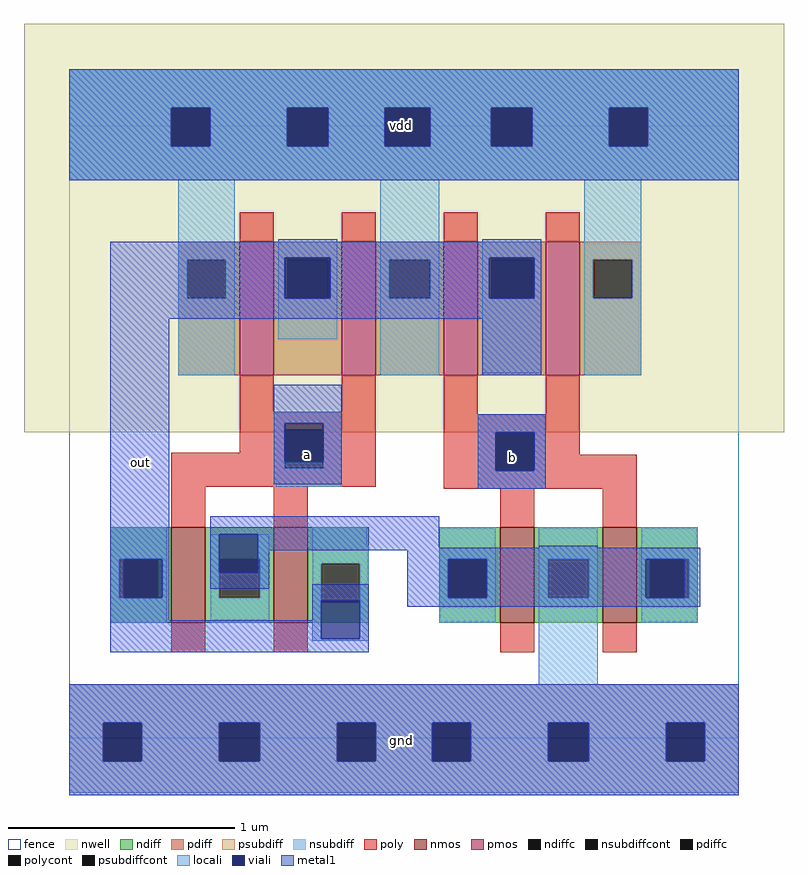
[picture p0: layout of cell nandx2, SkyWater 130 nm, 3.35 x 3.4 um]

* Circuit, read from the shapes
.subckt nandx2 vdd gnd b a out
XM1 n1 a out gnd sky130_fd_pr__nfet_01v8 w=0.42 l=0.15 m=2
XM2 gnd b n1 gnd sky130_fd_pr__nfet_01v8 w=0.42 l=0.15 m=2
XM3 out a vdd vdd sky130_fd_pr__pfet_01v8 w=0.59 l=0.15 m=2
XM4 out b vdd vdd sky130_fd_pr__pfet_01v8 w=0.59 l=0.15 m=2
.ends

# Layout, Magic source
magic
tech sky130A
<< fence >>
rect -30 0 265 270
<< nwell >>
rect -50 135 285 315
<< nmos >>
rect 15 51 30 93
rect 60 51 75 93
rect 160 51 175 93
rect 205 51 220 93
<< pmos >>
rect 45 160 60 219
rect 90 160 105 219
rect 135 160 150 219
rect 180 160 195 219
<< ndiff >>
rect -12 79 15 93
rect -12 62 -8 79
rect 9 62 15 79
rect -12 51 15 62
rect 30 79 60 93
rect 30 62 36 79
rect 54 62 60 79
rect 30 51 60 62
rect 75 77 102 93
rect 75 60 81 77
rect 98 60 102 77
rect 75 51 102 60
rect 133 79 160 93
rect 133 62 137 79
rect 154 62 160 79
rect 133 51 160 62
rect 175 79 205 93
rect 175 62 181 79
rect 199 62 205 79
rect 175 51 205 62
rect 220 79 247 93
rect 220 62 226 79
rect 243 62 247 79
rect 220 51 247 62
<< pdiff >>
rect 18 211 45 219
rect 18 194 22 211
rect 39 194 45 211
rect 18 160 45 194
rect 60 211 90 219
rect 60 194 66 211
rect 84 194 90 211
rect 60 160 90 194
rect 105 211 135 219
rect 105 194 111 211
rect 129 194 135 211
rect 105 160 135 194
rect 150 211 180 219
rect 150 194 156 211
rect 174 194 180 211
rect 150 160 180 194
rect 195 211 222 219
rect 195 194 201 211
rect 218 194 222 211
rect 195 160 222 194
<< ndiffc >>
rect -8 62 9 79
rect 36 62 54 79
rect 81 60 98 77
rect 137 62 154 79
rect 181 62 199 79
rect 226 62 243 79
<< pdiffc >>
rect 22 194 39 211
rect 66 194 84 211
rect 111 194 129 211
rect 156 194 174 211
rect 201 194 218 211
<< psubdiff >>
rect -30 7 265 24
rect -30 -10 -15 7
rect 2 -10 36 7
rect 54 -10 88 7
rect 105 -10 130 7
rect 147 -10 181 7
rect 199 -10 233 7
rect 250 -10 265 7
rect -30 -24 265 -10
<< nsubdiff >>
rect -30 278 265 295
rect -30 261 15 278
rect 32 261 66 278
rect 84 261 109 278
rect 129 261 156 278
rect 174 261 208 278
rect 225 261 265 278
rect -30 246 265 261
<< psubdiffcont >>
rect -15 -10 2 7
rect 36 -10 54 7
rect 88 -10 105 7
rect 130 -10 147 7
rect 181 -10 199 7
rect 233 -10 250 7
<< nsubdiffcont >>
rect 15 261 32 278
rect 66 261 84 278
rect 109 261 129 278
rect 156 261 174 278
rect 208 261 225 278
<< poly >>
rect 45 219 60 232
rect 90 219 105 232
rect 135 219 150 232
rect 180 219 195 232
rect 45 144 60 160
rect 90 144 105 160
rect 45 136 105 144
rect 45 126 65 136
rect 15 119 65 126
rect 82 119 105 136
rect 15 111 105 119
rect 135 143 150 160
rect 180 143 195 160
rect 135 135 195 143
rect 135 118 158 135
rect 175 125 195 135
rect 175 118 220 125
rect 15 93 30 111
rect 60 93 75 111
rect 135 110 220 118
rect 160 93 175 110
rect 205 93 220 110
rect 15 38 30 51
rect 60 38 75 51
rect 160 38 175 51
rect 205 38 220 51
<< polycont >>
rect 65 119 82 136
rect 158 118 175 135
<< locali >>
rect -30 278 265 295
rect -30 261 15 278
rect 32 261 66 278
rect 84 261 109 278
rect 129 261 156 278
rect 174 261 208 278
rect 225 261 265 278
rect -30 246 265 261
rect 18 211 43 246
rect 18 194 22 211
rect 39 194 43 211
rect 18 160 43 194
rect 62 212 88 219
rect 62 194 65 212
rect 85 194 88 212
rect 62 176 88 194
rect 107 211 133 246
rect 107 194 111 211
rect 129 194 133 211
rect 107 160 133 194
rect 152 212 178 219
rect 152 194 155 212
rect 175 194 178 212
rect 152 161 178 194
rect 197 211 222 246
rect 197 194 201 211
rect 218 194 222 211
rect 197 160 222 194
rect 60 139 90 144
rect 60 119 65 139
rect 82 119 90 139
rect 60 113 90 119
rect 61 111 90 113
rect 150 135 180 143
rect 150 118 158 135
rect 175 118 180 135
rect 150 110 180 118
rect -12 79 13 93
rect -12 62 -8 79
rect 11 62 13 79
rect -12 51 13 62
rect 32 62 36 90
rect 53 79 58 90
rect 54 62 58 79
rect 32 51 58 62
rect 77 85 101 93
rect 77 77 102 85
rect 77 44 81 77
rect 98 44 102 77
rect 133 79 158 93
rect 133 62 137 79
rect 154 62 158 79
rect 133 51 158 62
rect 177 79 203 93
rect 177 62 181 79
rect 199 62 203 79
rect 77 43 102 44
rect 177 24 203 62
rect 222 79 247 93
rect 222 62 224 79
rect 243 62 247 79
rect 222 51 247 62
rect -30 7 265 24
rect -30 -10 -15 7
rect 2 -10 36 7
rect 54 -10 88 7
rect 105 -10 130 7
rect 147 -10 181 7
rect 199 -10 233 7
rect 250 -10 265 7
rect -30 -25 265 -10
<< viali >>
rect 15 261 32 278
rect 66 261 84 278
rect 109 261 129 278
rect 156 261 174 278
rect 208 261 225 278
rect 65 211 85 212
rect 65 194 66 211
rect 66 194 84 211
rect 84 194 85 211
rect 155 211 175 212
rect 155 194 156 211
rect 156 194 174 211
rect 174 194 175 211
rect 65 136 82 139
rect 65 122 82 136
rect 158 118 175 135
rect -6 62 9 79
rect 9 62 11 79
rect 36 79 53 90
rect 36 73 53 79
rect 81 60 98 61
rect 81 44 98 60
rect 137 62 154 79
rect 224 62 226 79
rect 226 62 241 79
rect -15 -10 2 7
rect 36 -10 54 7
rect 88 -10 105 7
rect 130 -10 147 7
rect 181 -10 199 7
rect 233 -10 250 7
<< metal1 >>
rect -30 278 265 295
rect -30 261 15 278
rect 32 261 66 278
rect 84 261 109 278
rect 129 261 156 278
rect 174 261 208 278
rect 225 261 265 278
rect -30 246 265 261
rect 62 219 88 220
rect 152 219 178 220
rect -12 212 178 219
rect -12 194 65 212
rect 85 194 155 212
rect 175 194 178 212
rect -12 185 178 194
rect -12 79 14 185
rect 152 160 178 185
rect 60 139 90 156
rect 60 122 65 139
rect 82 122 90 139
rect 60 112 90 122
rect 150 135 180 143
rect 150 118 158 135
rect 175 118 180 135
rect 150 110 180 118
rect -12 62 -6 79
rect 11 62 14 79
rect 32 90 133 98
rect 32 73 36 90
rect 53 84 133 90
rect 177 84 203 85
rect 53 83 248 84
rect 53 73 58 83
rect 32 66 58 73
rect 119 79 248 83
rect -12 52 14 62
rect 77 61 102 68
rect 77 52 81 61
rect -12 44 81 52
rect 98 44 102 61
rect 119 62 137 79
rect 154 62 224 79
rect 241 62 248 79
rect 119 58 248 62
rect -12 38 102 44
rect -30 7 265 24
rect -30 -10 -15 7
rect 2 -10 36 7
rect 54 -10 88 7
rect 105 -10 130 7
rect 147 -10 181 7
rect 199 -10 233 7
rect 250 -10 265 7
rect -30 -25 265 -10
<< labels >>
rlabel nwell -21 253 254 287 1 vdd
port 1 n
rlabel metal1 -21 -18 254 16 1 gnd
port 2 n
rlabel metal1 155 115 176 133 1 b
port 4 n
rlabel metal1 62 116 88 134 1 a
port 5 n
rlabel metal1 -5 114 8 129 1 out
port 6 n
<< end >>
